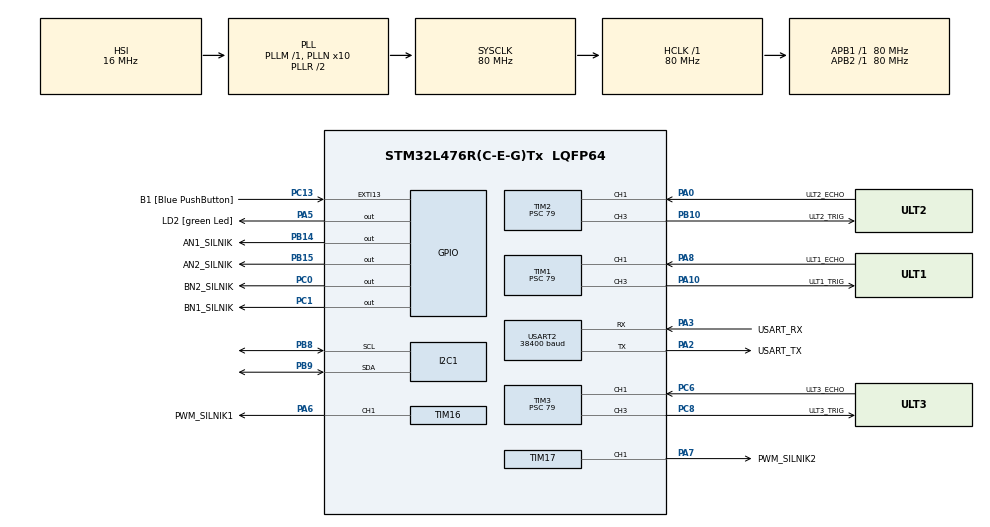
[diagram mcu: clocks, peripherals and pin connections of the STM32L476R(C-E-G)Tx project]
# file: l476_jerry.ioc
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I2C1.Timing=0x10909CEC
Mcu.Family=STM32L4
Mcu.Name=STM32L476R(C-E-G)Tx
Mcu.Package=LQFP64
NVIC.PriorityGroup=NVIC_PRIORITYGROUP_4
PA0.GPIO_Label=ULT2_ECHO
PA0.Signal=S_TIM2_CH1
PA10.GPIO_Label=ULT1_TRIG
PA10.Signal=S_TIM1_CH3
PA13\ (JTMS-SWDIO).GPIO_Label=TMS
PA13\ (JTMS-SWDIO).Mode=Serial_Wire
PA13\ (JTMS-SWDIO).Signal=SYS_JTMS-SWDIO
PA14\ (JTCK-SWCLK).GPIO_Label=TCK
PA14\ (JTCK-SWCLK).Mode=Serial_Wire
PA14\ (JTCK-SWCLK).Signal=SYS_JTCK-SWCLK
PA2.GPIO_Label=USART_TX
PA2.GPIO_Mode=GPIO_MODE_AF_PP
PA2.GPIO_PuPd=GPIO_NOPULL
PA2.GPIO_Speed=GPIO_SPEED_FREQ_VERY_HIGH
PA2.Mode=Asynchronous
PA2.Signal=USART2_TX
PA3.GPIO_Label=USART_RX
PA3.GPIO_Mode=GPIO_MODE_AF_PP
PA3.GPIO_PuPd=GPIO_NOPULL
PA3.GPIO_Speed=GPIO_SPEED_FREQ_VERY_HIGH
PA3.Mode=Asynchronous
PA3.Signal=USART2_RX
PA5.GPIO_Label=LD2 [green Led]
PA5.GPIO_ModeDefaultOutputPP=GPIO_MODE_OUTPUT_PP
PA5.GPIO_PuPd=GPIO_NOPULL
PA5.GPIO_Speed=GPIO_SPEED_FREQ_LOW
PA5.Signal=GPIO_Output
PA6.GPIO_Label=PWM_SILNIK1
PA6.Signal=S_TIM16_CH1
PA7.GPIO_Label=PWM_SILNIK2
PA7.Signal=S_TIM17_CH1
PA8.GPIO_Label=ULT1_ECHO
PA8.Signal=S_TIM1_CH1
PB10.GPIO_Label=ULT2_TRIG
PB10.Signal=S_TIM2_CH3
PB14.GPIO_Label=AN1_SILNIK
PB14.Signal=GPIO_Output
PB15.GPIO_Label=AN2_SILNIK
PB15.Signal=GPIO_Output
PB3\ (JTDO-TRACESWO).GPIO_Label=SWO
PB3\ (JTDO-TRACESWO).Signal=SYS_JTDO-SWO
PB8.Mode=I2C
PB8.Signal=I2C1_SCL
PB9.Mode=I2C
PB9.Signal=I2C1_SDA
PC0.GPIO_Label=BN2_SILNIK
PC0.Signal=GPIO_Output
PC1.GPIO_Label=BN1_SILNIK
PC1.Signal=GPIO_Output
PC13.GPIO_Label=B1 [Blue PushButton]
PC13.GPIO_ModeDefaultEXTI=GPIO_MODE_IT_FALLING
PC13.GPIO_PuPd=GPIO_NOPULL
PC13.Signal=GPXTI13
PC14-OSC32_IN\ (PC14).Mode=LSE-External-Oscillator
PC14-OSC32_IN\ (PC14).Signal=RCC_OSC32_IN
PC15-OSC32_OUT\ (PC15).Mode=LSE-External-Oscillator
PC15-OSC32_OUT\ (PC15).Signal=RCC_OSC32_OUT
PC6.GPIO_Label=ULT3_ECHO
PC6.Signal=S_TIM3_CH1
PC8.GPIO_Label=ULT3_TRIG
PC8.Signal=S_TIM3_CH3
PH0-OSC_IN\ (PH0).Signal=RCC_OSC_IN
PH1-OSC_OUT\ (PH1).Signal=RCC_OSC_OUT
ProjectManager.HeapSize=0x200
ProjectManager.StackSize=0x400
ProjectManager.TargetToolchain=STM32CubeIDE
RCC.ADCFreq_Value=64000000
RCC.AHBFreq_Value=80000000
RCC.APB1Freq_Value=80000000
RCC.APB1TimFreq_Value=80000000
RCC.APB2Freq_Value=80000000
RCC.APB2TimFreq_Value=80000000
RCC.CortexFreq_Value=80000000
RCC.HCLKFreq_Value=80000000
RCC.HSE_VALUE=8000000
RCC.HSI_VALUE=16000000
RCC.MSI_VALUE=4000000
RCC.PLLN=10
RCC.PLLSourceVirtual=RCC_PLLSOURCE_HSI
RCC.PREFETCH_ENABLE=1
RCC.SYSCLKFreq_VALUE=80000000
RCC.SYSCLKSource=RCC_SYSCLKSOURCE_PLLCLK
RCC.USBFreq_Value=64000000
RCC.VCOOutputFreq_Value=160000000
SH.S_TIM16_CH1.0=TIM16_CH1,PWM Generation1 CH1
SH.S_TIM17_CH1.0=TIM17_CH1,PWM Generation1 CH1
SH.S_TIM1_CH1.0=TIM1_CH1,Input_Capture1_from_TI1
SH.S_TIM1_CH1.1=TIM1_CH1,Input_Capture2_from_TI1
SH.S_TIM1_CH3.0=TIM1_CH3,PWM Generation3 CH3
SH.S_TIM2_CH1.0=TIM2_CH1,Input_Capture1_from_TI1
SH.S_TIM2_CH1.1=TIM2_CH1,Input_Capture2_from_TI1
SH.S_TIM2_CH3.0=TIM2_CH3,PWM Generation3 CH3
SH.S_TIM3_CH1.0=TIM3_CH1,Input_Capture1_from_TI1
SH.S_TIM3_CH1.1=TIM3_CH1,Input_Capture2_from_TI1
SH.S_TIM3_CH3.0=TIM3_CH3,PWM Generation3 CH3
TIM1.Channel-Input_Capture1_from_TI1=TIM_CHANNEL_1
TIM1.Channel-Input_Capture2_from_TI1=TIM_CHANNEL_2
TIM1.Channel-PWM\ Generation3\ CH3=TIM_CHANNEL_3
TIM1.ICPolarity_CH2=TIM_INPUTCHANNELPOLARITY_FALLING
TIM1.Prescaler=79
TIM1.Pulse-PWM\ Generation3\ CH3=10
TIM16.Channel=TIM_CHANNEL_1
TIM16.Period=999
TIM16.Prescaler=5
TIM17.Channel=TIM_CHANNEL_1
TIM17.Period=999
TIM17.Prescaler=5
TIM2.Channel-Input_Capture1_from_TI1=TIM_CHANNEL_1
TIM2.Channel-Input_Capture2_from_TI1=TIM_CHANNEL_2
TIM2.Channel-PWM\ Generation3\ CH3=TIM_CHANNEL_3
TIM2.ICPolarity_CH2=TIM_INPUTCHANNELPOLARITY_FALLING
TIM2.Period=65535
TIM2.Prescaler=79
TIM2.Pulse-PWM\ Generation3\ CH3=10
TIM3.Channel-Input_Capture1_from_TI1=TIM_CHANNEL_1
TIM3.Channel-Input_Capture2_from_TI1=TIM_CHANNEL_2
TIM3.Channel-PWM\ Generation3\ CH3=TIM_CHANNEL_3
TIM3.ICPolarity_CH2=TIM_INPUTCHANNELPOLARITY_FALLING
TIM3.Prescaler=79
USART2.BaudRate=38400
USART2.VirtualMode-Asynchronous=VM_ASYNC
VP_TIM16_VS_ClockSourceINT.Mode=Enable_Timer
VP_TIM17_VS_ClockSourceINT.Mode=Enable_Timer
VP_TIM1_VS_ClockSourceINT.Mode=Internal
VP_TIM2_VS_ClockSourceINT.Mode=Internal
VP_TIM3_VS_ClockSourceINT.Mode=Internal
board=NUCLEO-L476RG

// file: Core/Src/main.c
/* USER CODE BEGIN Header */
/**
  ******************************************************************************
  * @file           : main.c
  * @brief          : Main program body
  ******************************************************************************
  * @attention
  *
  * <h2><center>&copy; Copyright (c) 2023 STMicroelectronics.
  * All rights reserved.</center></h2>
  *
  * This software component is licensed by ST under BSD 3-Clause license,
  * the "License"; You may not use this file except in compliance with the
  * License. You may obtain a copy of the License at:
  *                        opensource.org/licenses/BSD-3-Clause
  *
  ******************************************************************************
  */
/* USER CODE END Header */
#include "main.h"
#include "i2c.h"
#include "tim.h"
#include "usart.h"
#include "gpio.h"

/* USER CODE BEGIN Includes */
#include <stdio.h>
/* USER CODE END Includes */

void SystemClock_Config(void);

/* USER CODE BEGIN 0 */

int __io_putchar(int ch)
{
    if (ch == '\n') {
        uint8_t ch2 = '\r';
        HAL_UART_Transmit(&huart2, &ch2, 1, HAL_MAX_DELAY);
    }

    HAL_UART_Transmit(&huart2, (uint8_t*)&ch, 1, HAL_MAX_DELAY);
    return 1;
}
/* USER CODE END 0 */

int main(void)
{

  /* MCU Configuration--------------------------------------------------------*/

  /* Reset of all peripherals, Initializes the Flash interface and the Systick. */
  HAL_Init();

  /* Configure the system clock */
  SystemClock_Config();

  /* Initialize all configured peripherals */
  MX_GPIO_Init();
  MX_USART2_UART_Init();
  MX_I2C1_Init();
  MX_TIM1_Init();
  MX_TIM2_Init();
  MX_TIM3_Init();
  MX_TIM16_Init();
  MX_TIM17_Init();

  /* Infinite loop */
  /* USER CODE BEGIN WHILE */
  HAL_TIM_IC_Start(&htim1, TIM_CHANNEL_1);
  HAL_TIM_IC_Start(&htim1, TIM_CHANNEL_2);
  HAL_TIM_PWM_Start(&htim1, TIM_CHANNEL_3);
  HAL_Delay(1000);
  while (1)
  {
	  uint32_t start = HAL_TIM_ReadCapturedValue(&htim1, TIM_CHANNEL_1);
	  uint32_t stop = HAL_TIM_ReadCapturedValue(&htim1, TIM_CHANNEL_2);
	  printf("%.1f cm\n", (stop - start) / 58.0f);

	  HAL_Delay(1000);
    /* USER CODE END WHILE */

  }
}

void SystemClock_Config(void)
{
  RCC_OscInitTypeDef RCC_OscInitStruct = {0};
  RCC_ClkInitTypeDef RCC_ClkInitStruct = {0};
  RCC_PeriphCLKInitTypeDef PeriphClkInit = {0};

  /** Initializes the RCC Oscillators according to the specified parameters
  * in the RCC_OscInitTypeDef structure.
  */
  RCC_OscInitStruct.OscillatorType = RCC_OSCILLATORTYPE_HSI;
  RCC_OscInitStruct.HSIState = RCC_HSI_ON;
  RCC_OscInitStruct.HSICalibrationValue = RCC_HSICALIBRATION_DEFAULT;
  RCC_OscInitStruct.PLL.PLLState = RCC_PLL_ON;
  RCC_OscInitStruct.PLL.PLLSource = RCC_PLLSOURCE_HSI;
  RCC_OscInitStruct.PLL.PLLM = 1;
  RCC_OscInitStruct.PLL.PLLN = 10;
  RCC_OscInitStruct.PLL.PLLP = RCC_PLLP_DIV7;
  RCC_OscInitStruct.PLL.PLLQ = RCC_PLLQ_DIV2;
  RCC_OscInitStruct.PLL.PLLR = RCC_PLLR_DIV2;
  if (HAL_RCC_OscConfig(&RCC_OscInitStruct) != HAL_OK)
  {
    Error_Handler();
  }
  /** Initializes the CPU, AHB and APB buses clocks
  */
  RCC_ClkInitStruct.ClockType = RCC_CLOCKTYPE_HCLK|RCC_CLOCKTYPE_SYSCLK
                              |RCC_CLOCKTYPE_PCLK1|RCC_CLOCKTYPE_PCLK2;
  RCC_ClkInitStruct.SYSCLKSource = RCC_SYSCLKSOURCE_PLLCLK;
  RCC_ClkInitStruct.AHBCLKDivider = RCC_SYSCLK_DIV1;
  RCC_ClkInitStruct.APB1CLKDivider = RCC_HCLK_DIV1;
  RCC_ClkInitStruct.APB2CLKDivider = RCC_HCLK_DIV1;

  if (HAL_RCC_ClockConfig(&RCC_ClkInitStruct, FLASH_LATENCY_4) != HAL_OK)
  {
    Error_Handler();
  }
  PeriphClkInit.PeriphClockSelection = RCC_PERIPHCLK_USART2|RCC_PERIPHCLK_I2C1;
  PeriphClkInit.Usart2ClockSelection = RCC_USART2CLKSOURCE_PCLK1;
  PeriphClkInit.I2c1ClockSelection = RCC_I2C1CLKSOURCE_PCLK1;
  if (HAL_RCCEx_PeriphCLKConfig(&PeriphClkInit) != HAL_OK)
  {
    Error_Handler();
  }
  /** Configure the main internal regulator output voltage
  */
  if (HAL_PWREx_ControlVoltageScaling(PWR_REGULATOR_VOLTAGE_SCALE1) != HAL_OK)
  {
    Error_Handler();
  }
}

void Error_Handler(void)
{
}

/************************ (C) COPYRIGHT STMicroelectronics *****END OF FILE****/
